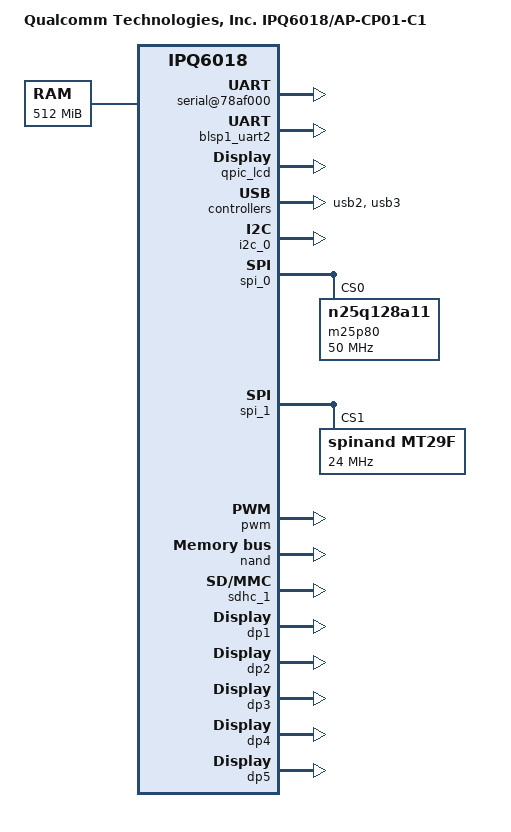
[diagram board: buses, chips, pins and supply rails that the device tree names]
/dts-v1/;
/* Copyright (c) 2018-2019, The Linux Foundation. All rights reserved.
 *
 * Permission to use, copy, modify, and/or distribute this software for any
 * purpose with or without fee is hereby granted, provided that the above
 * copyright notice and this permission notice appear in all copies.
 *
 * THE SOFTWARE IS PROVIDED "AS IS" AND THE AUTHOR DISCLAIMS ALL WARRANTIES
 * WITH REGARD TO THIS SOFTWARE INCLUDING ALL IMPLIED WARRANTIES OF
 * MERCHANTABILITY AND FITNESS. IN NO EVENT SHALL THE AUTHOR BE LIABLE FOR
 * ANY SPECIAL, DIRECT, INDIRECT, OR CONSEQUENTIAL DAMAGES OR ANY DAMAGES
 * WHATSOEVER RESULTING FROM LOSS OF USE, DATA OR PROFITS, WHETHER IN AN
 * ACTION OF CONTRACT, NEGLIGENCE OR OTHER TORTIOUS ACTION, ARISING OUT OF
 * OR IN CONNECTION WITH THE USE OR PERFORMANCE OF THIS SOFTWARE.
 */
#include "qcom-ipq6018.dtsi"
#include "qcom-ipq6018-rpm-regulator.dtsi"
#include "qcom-ipq6018-cpr-regulator.dtsi"
#include "qcom-ipq6018-cp-cpu.dtsi"
#include "qcom-ipq6018-ion.dtsi"
#include "qcom-ipq6018-audio-overlay.dtsi"

/ {
	#address-cells = <0x2>;
	#size-cells = <0x2>;
	model = "Qualcomm Technologies, Inc. IPQ6018/AP-CP01-C1";
	compatible = "qcom,ipq6018-emulation-c1", "qcom,ipq6018";
	interrupt-parent = <&intc>;

	aliases {
		serial0 = &blsp1_uart1;
		serial1 = &blsp1_uart2;
		sdhc1 = &sdhc_1;
		sdhc2 = &sdhc_2;
		/*
		 * Aliases as required by u-boot
		 * to patch MAC addresses
		 */
		ethernet0 = "/soc/dp1";
		ethernet1 = "/soc/dp2";
		ethernet2 = "/soc/dp3";
		ethernet3 = "/soc/dp4";
		ethernet4 = "/soc/dp5";
	};

	chosen {
		linux,initrd-end = <0x46000000>;
		linux,initrd-start = <0x44000000>;
		bootargs = "root=/dev/ram0 rw init=/init";
		stdout-path = "serial0";
	};

	memory {
		device_type = "memory";
		reg = <0x0 0x40000000 0x0 0x20000000>;
	};

	/*
	 * +=========+==============+========================+
	 * |        |              |                         |
	 * | Region | Start Offset |          Size           |
	 * |        |              |                         |
	 * +--------+--------------+-------------------------+
	 * |        |              |                         |
	 * |        |              |                         |
	 * |        |              |                         |
	 * |        |              |                         |
	 * | Linux  |  0x41000000  |         117MB           |
	 * |        |              |                         |
	 * |        |              |                         |
	 * |        |              |                         |
	 * +--------+--------------+-------------------------+
	 * | TZ App |  0x48500000  |           2MB           |
	 * +--------+--------------+-------------------------+
	 * |        |              |                         |
	 * | LPASS  |              |                         |
	 * |   Q6   |  0x48700000  |          26MB           |
	 * |        |              |                         |
	 * +--------+--------------+-------------------------+
	 *
	 * From the available 145 MB for Linux in the first 256 MB,
	 * we are reserving 26 MB for LPASS and 2 MB for TZAPP.
	 *
	 * Refer arch/arm64/boot/dts/qcom/qcom-ipq6018-memory.dtsi
	 * for memory layout.
	 */

	reserved-memory {
		tzapp:tzapp@48500000 {	/* TZAPPS */
			no-map;
			reg = <0x0 0x48500000 0x0 0x00200000>;
		};

		lpass@48700000 {
			no-map;
			reg = <0x0 0x48700000 0x0 0x01a00000>;
		};
	};

	soc {
		serial@78af000 {
			status = "ok";
		};

		blsp1_uart2: serial@78b0000 {
			status = "ok";
		};

		cryptobam: dma@704000 {
			qcom,controlled-remotely = <0>;
			qcom,config-pipe-trust-reg = <1>;
		};

		qca,scm_restart_reason {
			status = "disabled";
		};

		qpic_lcd: qcom_mdss_qpic@7980000 {
			qcom,bam_timeout = <20000>;
			status = "ok";
		};

		qpic_lcd_panel: qcom_mdss_qpic_panel {
			status = "ok";
		};

		usb2: usb2@7000000 {
			status = "ok";
		};

		usb3: usb3@8A00000 {
			status = "ok";
		};

		i2c_0: i2c@78b6000 {
			status = "ok";
		};

		spi_0: spi@78b5000 { /* BLSP1 QUP0 */
			status = "ok";

			m25p80@0 {
				#address-cells = <1>;
				#size-cells = <1>;
				reg = <0>;
				compatible = "n25q128a11";
				linux,modalias = "m25p80", "n25q128a11";
				spi-max-frequency = <50000000>;
				use-default-sizes;
			};
		};

		spi_1: spi@78b6000 { /* BLSP1 QUP1 */
			mt29f@1 {
				#address-cells = <1>;
				#size-cells = <1>;
				compatible = "spinand,mt29f";
				reg = <1>;
				spi-max-frequency = <24000000>;
				use-dummybyte-in-readid;
			};
		};

		pwm {
			used-pwm-indices = <1>, <0>, <0>, <0>;
			status = "ok";
		};

		q6v5_wcss: q6v5_wcss@CD00000 {
			qca,emulation;
			img-addr = <0x4AB00000>;
		};

		glink_adsp: qcom,glink-smem-native-xprt-adsp@4AA00000 {
			status = "ok";
		};

		ipc_router_adsp: qcom,ipc_router_adsp_xprt {
			status = "ok";
		};

		smp2p_adsp: smp2p-adsp {
			status = "ok";
		};

		q6v6_adsp: q6v6_adsp@AB00000 {
			status = "ok";
		};

		glink_adsp_ssr: qcom,glink-ssr-adsp {
			status = "ok";
		};

		q6v6_adsp: q6v6_adsp@AB00000 {
			qca,emulation;
			img-addr = <0x48700000>;
		};

		qpic_bam: dma@7984000{
			status = "ok";
		};

		nand: qpic-nand@79b0000 {
			status = "ok";
		};

		sdhc_1: sdhci@7804000 {
			qcom,bus-speed-mode = "DDR_1p8v";
			qcom,emulation = <1>;
			status = "ok";
		};

		sdhc_2: sdhci_sd@7804000 {
			qcom,emulation = <1>;
		};

		pcie0: pci@20000000 {
			is_emulation = <1>;
		};

		dp1 {
			device_type = "network";
			compatible = "qcom,nss-dp";
			qcom,id = <1>;
			reg = <0x3a001000 0x200>;
			qcom,mactype = <0>;
			local-mac-address = [000000000000];
		};

		dp2 {
			device_type = "network";
			compatible = "qcom,nss-dp";
			qcom,id = <2>;
			reg = <0x3a001200 0x200>;
			qcom,mactype = <0>;
			local-mac-address = [000000000000];
		};

		dp3 {
			device_type = "network";
			compatible = "qcom,nss-dp";
			qcom,id = <3>;
			reg = <0x3a001400 0x200>;
			qcom,mactype = <0>;
			local-mac-address = [000000000000];
		};

		dp4 {
			device_type = "network";
			compatible = "qcom,nss-dp";
			qcom,id = <4>;
			reg = <0x3a001600 0x200>;
			qcom,mactype = <0>;
			local-mac-address = [000000000000];
		};

		dp5 {
			device_type = "network";
			compatible = "qcom,nss-dp";
			qcom,id = <5>;
			reg = <0x3a003000 0x3fff>;
			qcom,mactype = <1>;
			local-mac-address = [000000000000];
		};

		nss_crypto {
			status = "ok";
		};

		timer {
			clock-frequency = <240000>;
		};

		smmu500: arm,smmu@1E00000 {
			status = "ok";
		};

		wifi0: wifi@c000000 {
			status = "disabled";
		};
	};

	psci {
		status = "disabled";
	};

	cpus {
		CPU0: cpu@0 {
			compatible = "arm,cortex-a53";
			enable-method = "qcom,arm-cortex-acc";

			L2_0: l2-cache {
				compatible = "arm,arch-cache";
			};
		};

		CPU1: cpu@1 {
			compatible = "arm,cortex-a53";
			enable-method = "qcom,arm-cortex-acc";
		};

		CPU2: cpu@2 {
			compatible = "arm,cortex-a53";
			enable-method = "qcom,arm-cortex-acc";
		};

		CPU3: cpu@3 {
			compatible = "arm,cortex-a53";
			enable-method = "qcom,arm-cortex-acc";
		};
	};

	firmware {
		qfprom {
			status = "disabled";
		};
	};
};
